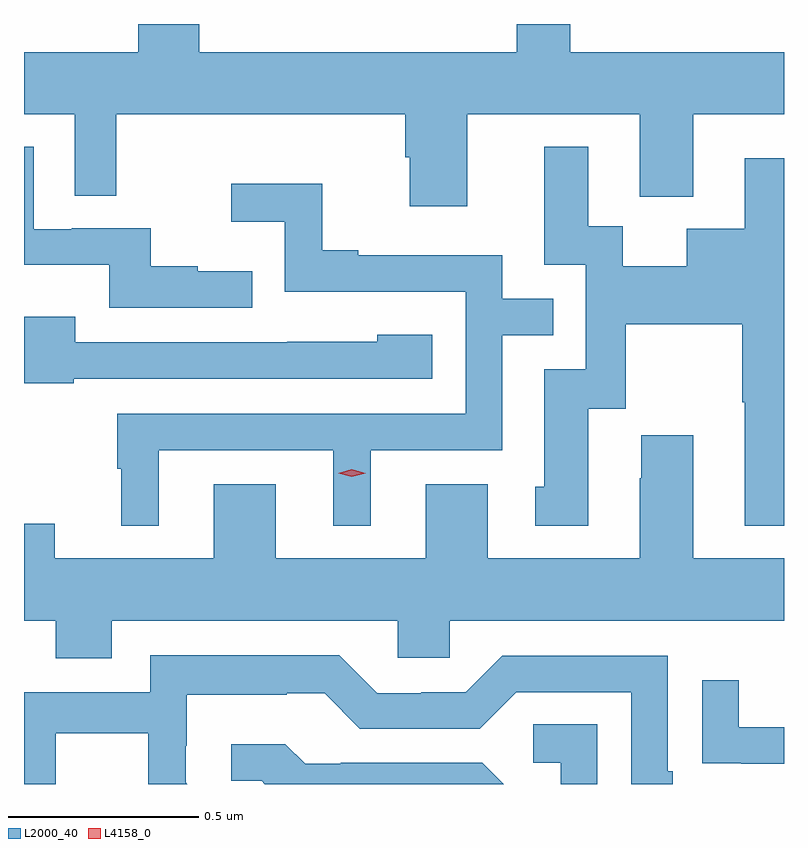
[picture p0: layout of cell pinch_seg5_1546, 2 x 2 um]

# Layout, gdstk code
import gdstk
lib = gdstk.Library(unit=1e-6, precision=1e-09)
def P(c, l, *ps):  # polygons
    for p in ps: c.add(gdstk.Polygon(p, *l))
L2000_40 = (2000, 40)
L4158_0 = (4158, 0)

pinch_seg5_1546 = lib.new_cell('pinch_seg5_1546')
P(pinch_seg5_1546, L2000_40, [(197.401,840.776),(197.855,840.776),(197.855,840.56),(197.995,840.56),(197.995,840.776),(198.234,840.776),(198.234,840.94),(197.671,840.94),(197.671,841.014),(197.531,841.014),(197.531,840.94),(196.695,840.94),(196.695,841.014),(196.535,841.014),(196.535,840.94),(196.234,840.94),(196.234,840.776),(196.368,840.776),(196.368,840.562),(196.477,840.562),(196.477,840.776),(197.237,840.776),(197.237,840.663),(197.249,840.663),(197.249,840.534),(197.401,840.534)],
  [(196.835,840.364),(196.691,840.364),(196.691,840.376),(196.568,840.376),(196.568,840.477),(196.36,840.477),(196.36,840.474),(196.26,840.474),(196.26,840.691),(196.234,840.691),(196.234,840.38),(196.458,840.38),(196.458,840.267),(196.835,840.267)],
  [(198.234,840.661),(198.131,840.661),(198.131,840.475),(197.978,840.475),(197.978,840.376),(197.809,840.376),(197.809,840.482),(197.719,840.482),(197.719,840.691),(197.603,840.691),(197.603,840.381),(197.712,840.381),(197.712,840.105),(197.603,840.105),(197.603,839.796),(197.579,839.796),(197.579,839.694),(197.719,839.694),(197.719,840.002),(197.817,840.002),(197.817,840.224),(198.124,840.224),(198.124,840.019),(198.131,840.019),(198.131,839.693),(198.234,839.693)],
  [(196.588,839.892),(197.048,839.892),(197.048,839.693),(197.146,839.693),(197.146,839.892),(197.493,839.892),(197.493,840.195),(197.627,840.195),(197.627,840.291),(197.493,840.291),(197.493,840.405),(197.113,840.405),(197.113,840.418),(197.019,840.418),(197.019,840.593),(196.779,840.593),(196.779,840.494),(196.92,840.494),(196.92,840.309),(197.397,840.309),(197.397,839.988),(196.479,839.988),(196.479,839.844),(196.49,839.844),(196.49,839.693),(196.588,839.693)],
  [(196.365,840.081),(197.308,840.081),(197.308,840.196),(197.163,840.196),(197.163,840.178),(196.927,840.178),(196.927,840.177),(196.369,840.177),(196.369,840.244),(196.234,840.244),(196.234,840.069),(196.365,840.069)],
  [(196.465,839.444),(197.217,839.444),(197.217,839.346),(197.355,839.346),(197.355,839.444),(198.234,839.444),(198.234,839.608),(197.995,839.608),(197.995,839.932),(197.858,839.932),(197.858,839.819),(197.855,839.819),(197.855,839.608),(197.455,839.608),(197.455,839.803),(197.291,839.803),(197.291,839.608),(196.897,839.608),(196.897,839.803),(196.733,839.803),(196.733,839.608),(196.315,839.608),(196.315,839.699),(196.234,839.699),(196.234,839.444),(196.318,839.444),(196.318,839.345),(196.465,839.345)],
  [(196.317,839.148),(196.561,839.148),(196.561,839.014),(196.664,839.014),(196.66,839.018),(196.66,839.115),(196.662,839.115),(196.662,839.249),(196.925,839.249),(196.925,839.253),(197.025,839.253),(197.118,839.16),(197.433,839.16),(197.529,839.256),(197.832,839.256),(197.832,839.014),(197.941,839.014),(197.941,839.047),(197.928,839.047),(197.928,839.352),(197.493,839.352),(197.397,839.256),(197.279,839.256),(197.279,839.253),(197.163,839.253),(197.063,839.353),(196.566,839.353),(196.566,839.256),(196.234,839.256),(196.234,839.014),(196.317,839.014)],
  [(198.234,839.163),(198.115,839.163),(198.115,839.287),(198.019,839.287),(198.019,839.068),(198.121,839.068),(198.121,839.067),(198.234,839.067)],
  [(197.742,839.171),(197.574,839.171),(197.574,839.07),(197.646,839.07),(197.646,839.014),(197.742,839.014)],
  [(197.44,839.07),(197.068,839.07),(197.068,839.067),(196.974,839.067),(196.922,839.119),(196.779,839.119),(196.779,839.022),(196.86,839.022),(196.868,839.014),(197.496,839.014)])
P(pinch_seg5_1546, L4158_0, [(197.097,839.822),(197.061,839.832),(197.061,839.832),(197.061,839.832),(197.097,839.842),(197.133,839.832),(197.133,839.832),(197.133,839.832)])

lib.write_gds('pinch_seg5_1546.gds')
